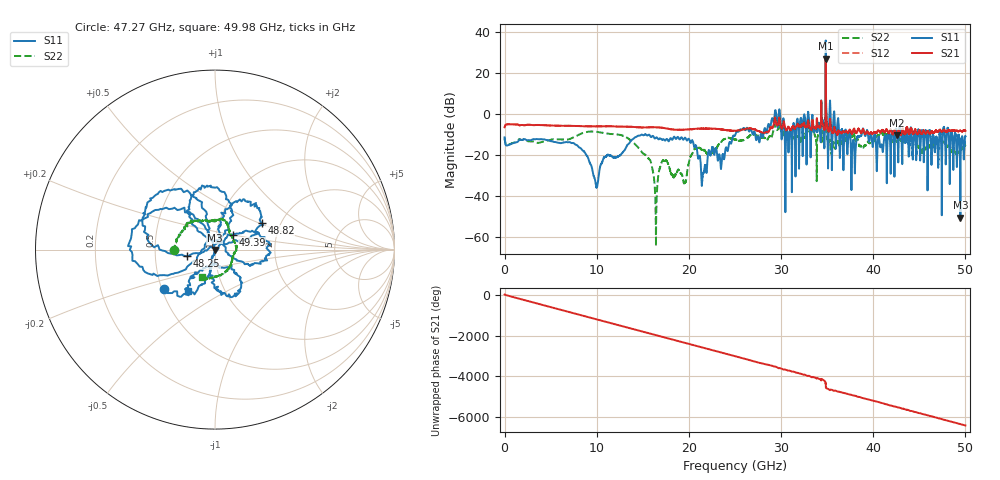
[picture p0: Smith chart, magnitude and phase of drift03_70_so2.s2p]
!Created with skrf (http://scikit-rf.org).
# Hz S RI R 50.0
!freq ReS11 ImS11 ReS21 ImS21 ReS12 ImS12 ReS22 ImS22
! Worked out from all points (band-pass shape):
!   10001 points, 300 kHz to 50 GHz, reference 50 ohm
!   highest |S21| = 26.95 dB at 34.85 GHz (marker M1); lowest = -10.4 dB at 42.56 GHz (marker M2)
!   |S21| within 3 dB of the highest: 34.84376 GHz to 34.84607 GHz (2.304 MHz wide, 0.00661 % of centre)
!   lowest |S11| = -50.6 dB at 49.46 GHz (marker M3), VSWR 1.01, Z = 49.8 - j0.187 ohm
!   |S11| at or under -10 dB: start of sweep to 15.23 GHz; 15.31 GHz to 25.05 GHz (9.741 GHz wide, 48.3 % of centre); 40.22 GHz to 41.61 GHz (1.388 GHz wide, 3.39 % of centre) (the widest 3 of 51)
!   |S22| runs from -64.5 to 18.0 dB; largest |S21 - S12| = 3.3
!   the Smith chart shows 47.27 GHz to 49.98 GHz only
!   S11 on the Smith chart (normalised r, x): 47.27 GHz: 0.51, -0.26; 48.25 GHz: 0.73, -0.06; 48.82 GHz: 1.60, +0.52; 49.39 GHz: 1.20, +0.20; 49.98 GHz: 0.67, -0.33
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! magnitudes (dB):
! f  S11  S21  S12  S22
! 300 kHz  -11.4  -6.5  -6.5  -11.4
! 8.335 GHz  -17.1  -6.0  -6.0  -9.6
! 9.955 GHz  -35.7  -6.1  -6.1  -8.7
! 13.79 GHz  -12.6  -6.3  -6.3  -13.2
! 16.67 GHz  -12.4  -6.5  -6.5  -30.3
! 17.34 GHz  -12.8  -6.9  -6.9  -22.9
! 19.55 GHz  -11.6  -7.6  -7.6  -33.6
! 20.22 GHz  -13.8  -7.5  -7.5  -20.4
! 21.55 GHz  -28.8  -7.2  -7.2  -17.7
! 25 GHz  -10.6  -8.2  -8.2  -12.5
! 33.34 GHz  -3.8  -6.8  -6.7  -9.3
! 34.85 GHz  35.8  26.9  26.8  18.0
! 37.83 GHz  -12.8  -8.2  -8.2  -9.6
! 41.67 GHz  -9.0  -9.4  -9.3  -11.3
! 42.56 GHz  -8.4  -10.4  -10.4  -13.5
! 47.27 GHz  -8.9  -7.8  -7.8  -12.8
! 48.25 GHz  -15.8  -8.1  -8.1  -15.4
! 48.82 GHz  -10.5  -8.2  -8.2  -18.4
! 49.39 GHz  -17.7  -8.2  -8.3  -18.0
! 49.46 GHz  -50.6  -8.2  -8.2  -17.8
! 49.98 GHz  -11.2  -8.2  -8.2  -15.4
! 50 GHz  -10.8  -8.2  -8.2  -15.5
